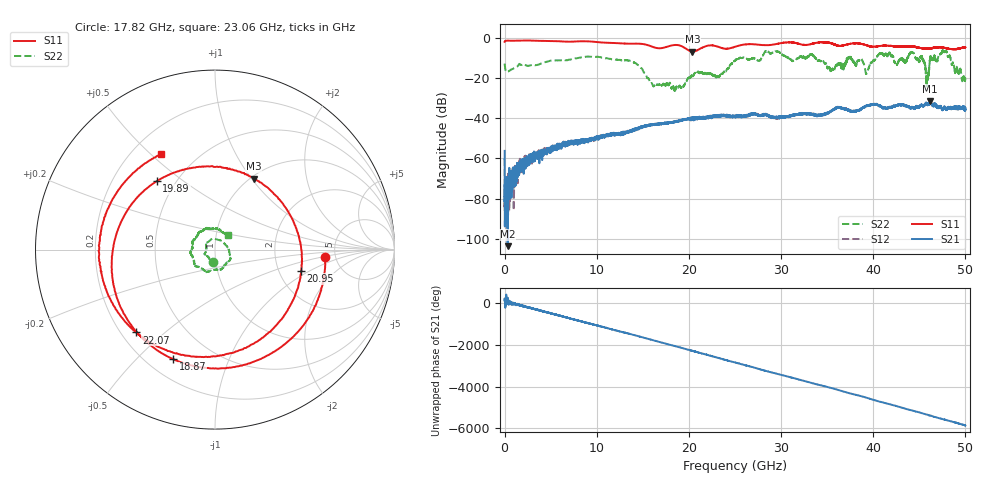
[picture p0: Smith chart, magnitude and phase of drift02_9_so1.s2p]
!Created with skrf (http://scikit-rf.org).
# Hz S RI R 50.0
!freq ReS11 ImS11 ReS21 ImS21 ReS12 ImS12 ReS22 ImS22
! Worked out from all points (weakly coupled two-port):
!   10001 points, 300 kHz to 50 GHz, reference 50 ohm
!   highest |S21| = -31.64 dB at 46.18 GHz (marker M1); lowest = -103.6 dB at 335.3 MHz (marker M2)
!   lowest |S11| = -6.9 dB at 20.38 GHz (marker M3), VSWR 2.64, Z = 51.7 + j51.3 ohm
!   |S11| at or under -10 dB: nowhere
!   |S22| runs from -26.5 to -6.2 dB; largest |S21 - S12| = 0.0039
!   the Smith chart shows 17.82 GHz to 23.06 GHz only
!   S11 on the Smith chart (normalised r, x): 17.82 GHz: 4.14, -0.55; 18.87 GHz: 0.30, -0.65; 19.89 GHz: 0.39, +0.40; 20.95 GHz: 2.65, -0.84; 22.07 GHz: 0.26, -0.41; 23.06 GHz: 0.32, +0.54
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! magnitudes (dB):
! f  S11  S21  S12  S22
! 300 kHz  -2.1  -56.2  -60.1  -12.9
! 335.3 MHz  -1.4  -103.6  -71.7  -16.9
! 2.68 GHz  -1.4  -60.1  -60.3  -13.9
! 8.335 GHz  -1.7  -51.8  -51.5  -9.8
! 13.71 GHz  -3.0  -46.5  -46.0  -11.6
! 16.67 GHz  -5.2  -42.9  -42.8  -23.5
! 17.82 GHz  -4.2  -42.1  -42.2  -23.3
! 18.87 GHz  -3.7  -41.2  -41.4  -24.5
! 19.89 GHz  -6.0  -40.3  -40.4  -20.1
! 20.38 GHz  -6.9  -39.9  -40.2  -18.9
! 20.95 GHz  -6.1  -40.5  -40.0  -16.9
! 22.07 GHz  -3.9  -39.5  -39.6  -17.7
! 23.06 GHz  -4.3  -39.1  -38.5  -19.2
! 25 GHz  -4.5  -39.1  -39.3  -11.4
! 33.34 GHz  -3.1  -38.0  -38.0  -8.3
! 39.31 GHz  -3.8  -33.9  -33.9  -17.3
! 41.67 GHz  -4.0  -34.7  -34.6  -7.9
! 44.25 GHz  -4.2  -34.5  -34.6  -7.2
! 45.85 GHz  -5.5  -33.1  -33.0  -20.5
! 46.18 GHz  -5.2  -31.6  -32.0  -9.6
! 47.75 GHz  -5.0  -34.7  -34.4  -6.8
! 50 GHz  -4.7  -35.7  -35.8  -20.1
